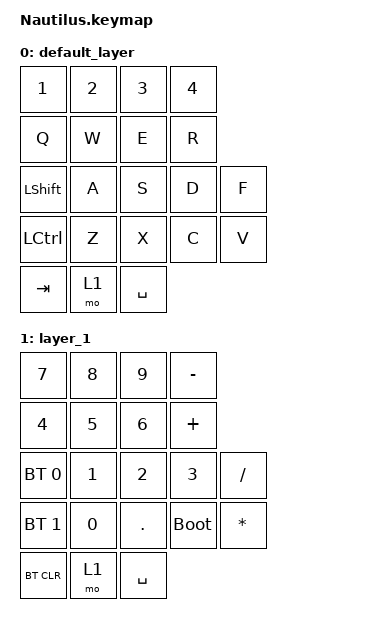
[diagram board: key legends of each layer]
/*
 * Copyright (c) 2020 The ZMK Contributors
 *
 * SPDX-License-Identifier: MIT
 */

#include <behaviors.dtsi>
#include <dt-bindings/zmk/keys.h>
#include <dt-bindings/zmk/bt.h>

/ {
    keymap {
        compatible = "zmk,keymap";

        default_layer {
            bindings = <
                &kp N1    &kp N2    &kp N3    &kp N4
                &kp Q     &kp W     &kp E     &kp R
                &kp LSHFT &kp A     &kp S     &kp D    &kp F
                &kp LCTRL &kp Z     &kp X     &kp C    &kp V
                &kp TAB   &mo 1     &kp SPACE
            >;
        };

        layer_1 {
            bindings = <
                &kp N7      &kp N8      &kp N9      &kp MINUS
                &kp N4      &kp N5      &kp N6      &kp PLUS
                &bt BT_SEL 0 &kp N1     &kp N2      &kp N3    &kp FSLH
                &bt BT_SEL 1 &kp N0     &kp DOT     &bootloader     &kp ASTRK
                &bt BT_CLR   &mo 1      &kp SPACE
            >;
        };
    };
};
